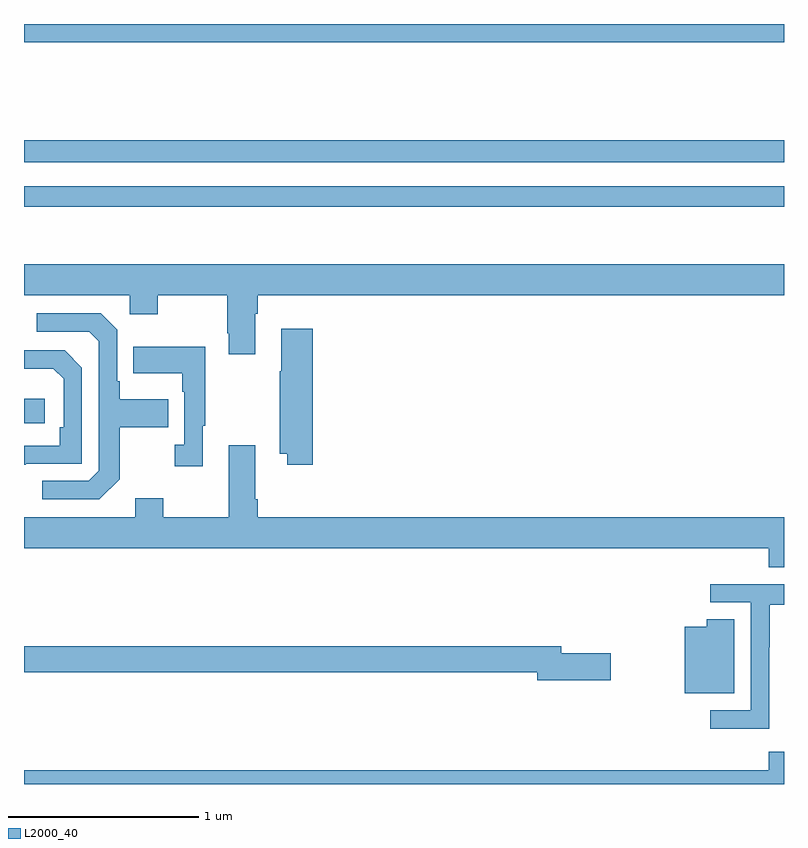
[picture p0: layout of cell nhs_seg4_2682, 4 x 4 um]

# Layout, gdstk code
import gdstk
lib = gdstk.Library(unit=1e-6, precision=1e-09)
def R(c, l, rs):  # rectangles x0, y0, x1, y1
    for r in rs: c.add(gdstk.rectangle(r[:2], r[2:], *l))
def P(c, l, *ps):  # polygons
    for p in ps: c.add(gdstk.Polygon(p, *l))
L2000_40 = (2000, 40)

nhs_seg4_2682 = lib.new_cell('nhs_seg4_2682')
R(nhs_seg4_2682, L2000_40, [(251,810.798,251.11,810.928), (251,811.938,255,812.046), (251,812.172,255,812.288), (251,812.804,255,812.9)])
P(nhs_seg4_2682, L2000_40, [(252.217,811.376),(252.23,811.376),(252.23,811.472),(255,811.472),(255,811.636),(251,811.636),(251,811.472),(251.556,811.472),(251.556,811.373),(251.703,811.373),(251.703,811.472),(252.07,811.472),(252.07,811.273),(252.077,811.273),(252.077,811.161),(252.217,811.161)],
  [(251.503,810.505),(251.503,810.778),(251.759,810.778),(251.759,810.925),(251.503,810.925),(251.503,811.021),(251.49,811.021),(251.49,811.29),(251.403,811.377),(251.067,811.377),(251.067,811.281),(251.343,811.281),(251.394,811.23),(251.394,810.549),(251.34,810.495),(251.097,810.495),(251.097,810.399),(251.397,810.399)],
  [(252.521,811.297),(252.353,811.297),(252.353,811.073),(252.346,811.073),(252.346,810.638),(252.386,810.638),(252.386,810.579),(252.521,810.579)],
  [(251.941,810.785),(251.953,810.785),(251.953,811.201),(251.575,811.201),(251.575,811.061),(251.832,811.061),(251.832,810.965),(251.844,810.965),(251.844,810.686),(251.793,810.686),(251.793,810.573),(251.941,810.573)],
  [(251.009,810.585),(251.304,810.585),(251.304,811.092),(251.214,811.182),(251,811.182),(251,811.085),(251.155,811.085),(251.208,811.032),(251.208,810.778),(251.188,810.778),(251.188,810.681),(251,810.681),(251,810.58),(251.009,810.58)],
  [(255,810.304),(252.23,810.304),(252.23,810.4),(252.217,810.4),(252.217,810.682),(252.077,810.682),(252.077,810.304),(251.733,810.304),(251.733,810.403),(251.585,810.403),(251.585,810.304),(251,810.304),(251,810.14),(254.921,810.14),(254.921,810.041),(255,810.041)],
  [(254.922,809.62),(254.925,809.62),(254.925,809.844),(255,809.844),(255,809.952),(254.613,809.952),(254.613,809.856),(254.826,809.856),(254.826,809.289),(254.613,809.289),(254.613,809.191),(254.922,809.191)],
  [(254.737,809.767),(254.594,809.767),(254.594,809.728),(254.477,809.728),(254.477,809.378),(254.737,809.378)],
  [(254.089,809.588),(253.828,809.588),(253.828,809.624),(251,809.624),(251,809.488),(253.7,809.488),(253.7,809.446),(254.089,809.446)],
  [(255,809.071),(254.921,809.071),(254.921,808.972),(251,808.972),(251,808.9),(255,808.9)])

lib.write_gds('nhs_seg4_2682.gds')
